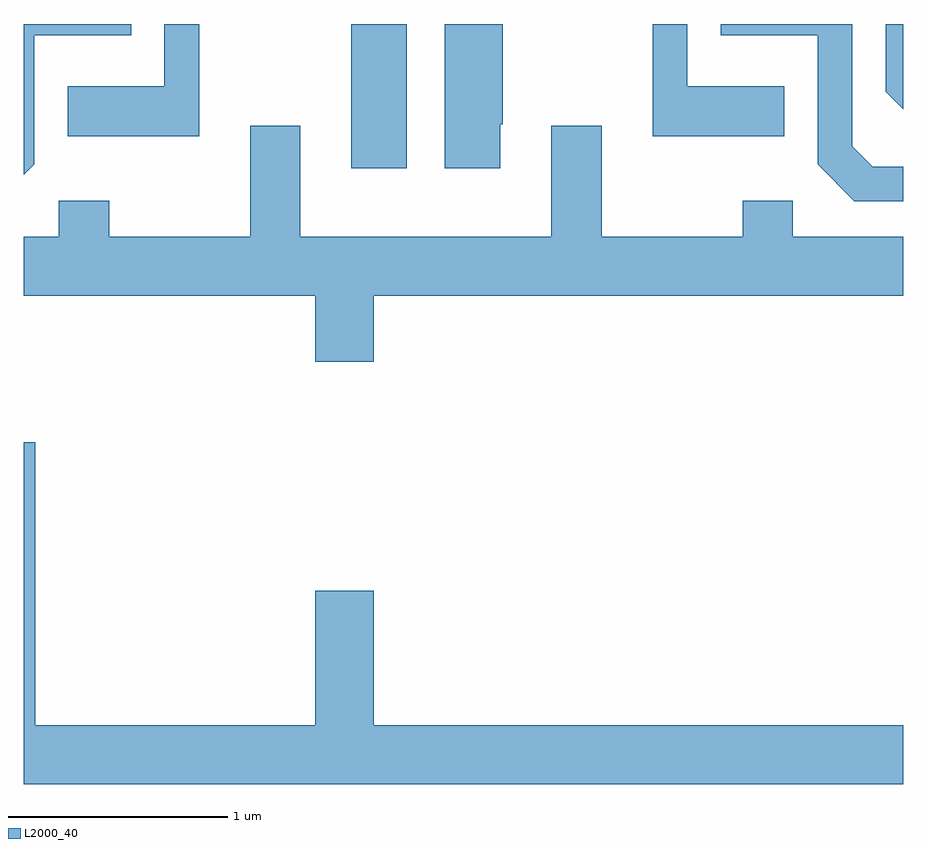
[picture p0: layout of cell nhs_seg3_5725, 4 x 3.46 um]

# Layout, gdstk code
import gdstk
lib = gdstk.Library(unit=1e-6, precision=1e-09)
def R(c, l, rs):  # rectangles x0, y0, x1, y1
    for r in rs: c.add(gdstk.rectangle(r[:2], r[2:], *l))
def P(c, l, *ps):  # polygons
    for p in ps: c.add(gdstk.Polygon(p, *l))
L2000_40 = (2000, 40)

nhs_seg3_5725 = lib.new_cell('nhs_seg3_5725')
R(nhs_seg3_5725, L2000_40, [(355.101,1153.236,355.354,1153.892)])
P(nhs_seg3_5725, L2000_40, [(357.611,1153.244),(357.472,1153.244),(357.379,1153.337),(357.379,1153.892),(356.781,1153.892),(356.781,1153.841),(357.221,1153.841),(357.221,1153.254),(357.389,1153.086),(357.611,1153.086)],
  [(353.659,1153.254),(353.659,1153.841),(354.099,1153.841),(354.099,1153.892),(353.611,1153.892),(353.611,1153.206)],
  [(357.611,1153.892),(357.531,1153.892),(357.531,1153.584),(357.611,1153.504)],
  [(354.409,1153.892),(354.251,1153.892),(354.251,1153.609),(353.811,1153.609),(353.811,1153.381),(354.409,1153.381)],
  [(355.779,1153.435),(355.789,1153.435),(355.789,1153.892),(355.526,1153.892),(355.526,1153.236),(355.779,1153.236)],
  [(357.069,1153.609),(356.629,1153.609),(356.629,1153.892),(356.471,1153.892),(356.471,1153.381),(357.069,1153.381)],
  [(355.204,1152.656),(357.611,1152.656),(357.611,1152.924),(357.109,1152.924),(357.109,1153.089),(356.881,1153.089),(356.881,1152.924),(356.239,1152.924),(356.239,1153.429),(356.011,1153.429),(356.011,1152.924),(354.869,1152.924),(354.869,1153.429),(354.641,1153.429),(354.641,1152.924),(353.999,1152.924),(353.999,1153.089),(353.771,1153.089),(353.771,1152.924),(353.611,1152.924),(353.611,1152.656),(354.936,1152.656),(354.936,1152.356),(355.204,1152.356)],
  [(357.611,1150.704),(355.204,1150.704),(355.204,1151.314),(354.936,1151.314),(354.936,1150.704),(353.664,1150.704),(353.664,1151.989),(353.611,1151.989),(353.611,1150.436),(357.611,1150.436)])

lib.write_gds('nhs_seg3_5725.gds')
